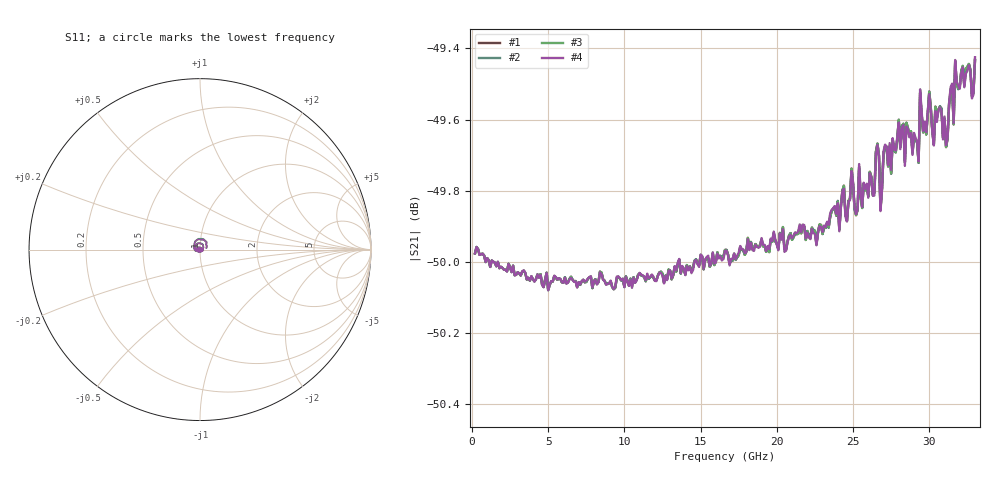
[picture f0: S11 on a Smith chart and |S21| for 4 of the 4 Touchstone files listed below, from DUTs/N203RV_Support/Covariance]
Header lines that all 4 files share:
# GHZ S RI R 50
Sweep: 200 MHz to 33 GHz
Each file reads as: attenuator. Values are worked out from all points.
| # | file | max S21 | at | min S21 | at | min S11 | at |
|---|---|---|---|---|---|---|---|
| 1 | N203RV_5.s2p | -49.43 dB | 33 GHz | -50.1 dB | 5 GHz | -47.2 dB | 12.3 GHz |
| 2 | N203RV_10.s2p | -49.43 dB | 33 GHz | -50.1 dB | 5 GHz | -46.7 dB | 13.3 GHz |
| 3 | N203RV_13.s2p | -49.43 dB | 33 GHz | -50.1 dB | 5 GHz | -46.8 dB | 12.4 GHz |
| 4 | N203RV_14.s2p | -49.42 dB | 33 GHz | -50.1 dB | 5 GHz | -47.6 dB | 12.4 GHz |
